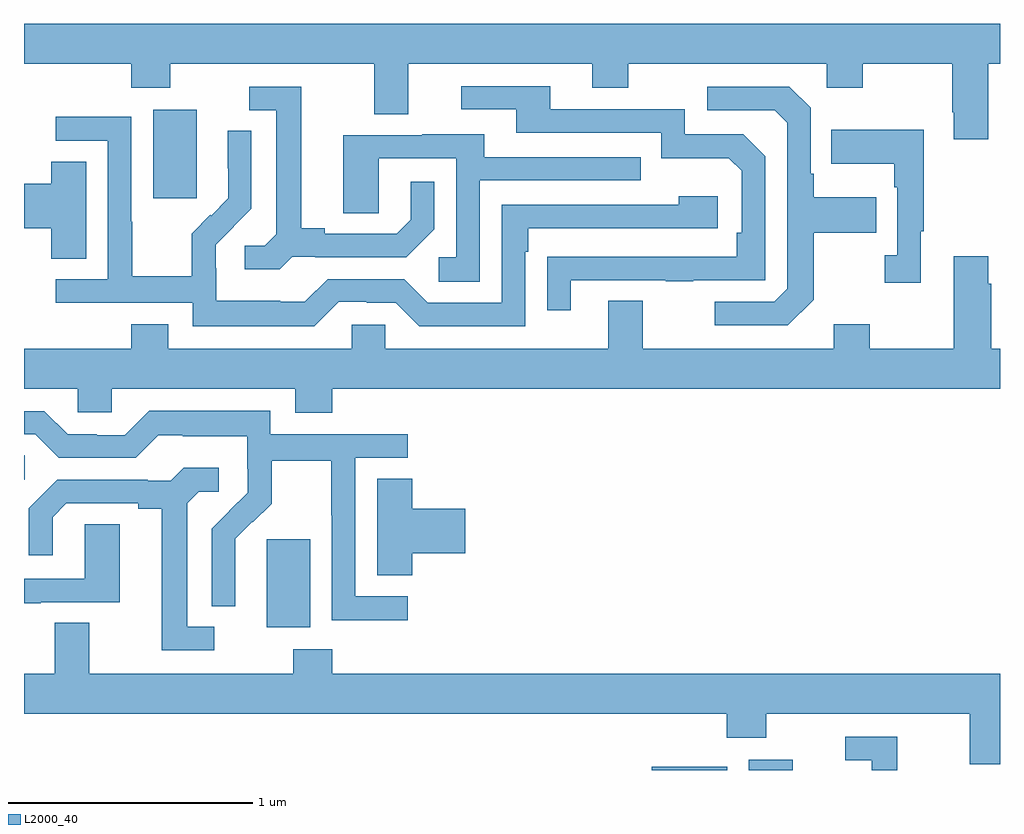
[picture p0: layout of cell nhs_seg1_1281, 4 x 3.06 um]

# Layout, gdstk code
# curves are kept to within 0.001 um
import gdstk
lib = gdstk.Library(unit=1e-6, precision=1e-09)
def R(c, l, rs):  # rectangles x0, y0, x1, y1
    for r in rs: c.add(gdstk.rectangle(r[:2], r[2:], *l))
def P(c, l, *ps):  # polygons
    for p in ps: c.add(gdstk.Polygon(p, *l))
L2000_40 = (2000, 40)

nhs_seg1_1281 = lib.new_cell('nhs_seg1_1281')
R(nhs_seg1_1281, L2000_40, [(183.573,518.199,183.882,518.214), (183.971,518.199,184.15,518.242), (181.994,518.786,182.173,519.147), (181,519.39,181.003,519.491), (181.529,520.545,181.708,520.906)])
P(nhs_seg1_1281, L2000_40, [(184.951,521.096),(185,521.096),(185,521.26),(181,521.26),(181,521.096),(181.439,521.096),(181.439,520.997),(181.599,520.997),(181.599,521.096),(182.435,521.096),(182.435,520.888),(182.575,520.888),(182.575,521.096),(183.329,521.096),(183.329,520.997),(183.477,520.997),(183.477,521.096),(184.29,521.096),(184.29,520.997),(184.437,520.997),(184.437,521.096),(184.804,521.096),(184.804,520.897),(184.811,520.897),(184.811,520.785),(184.951,520.785)],
  [(183.241,520.209),(183.631,520.209),(183.631,520.204),(183.743,520.204),(183.743,520.209),(184.038,520.209),(184.038,520.716),(183.948,520.806),(183.708,520.806),(183.708,520.908),(183.157,520.908),(183.157,521.004),(182.793,521.004),(182.793,520.908),(183.017,520.908),(183.017,520.812),(183.612,520.812),(183.612,520.709),(183.889,520.709),(183.942,520.656),(183.942,520.402),(183.922,520.402),(183.922,520.305),(183.145,520.304),(183.145,520.086),(183.241,520.086)],
  [(182.1,520.305),(182.194,520.305),(182.194,520.302),(182.566,520.302),(182.682,520.418),(182.682,520.612),(182.585,520.612),(182.585,520.455),(182.528,520.398),(182.233,520.398),(182.233,520.421),(182.137,520.421),(182.137,521.001),(181.923,521.001),(181.923,520.905),(182.033,520.905),(182.033,520.397),(181.986,520.35),(181.905,520.35),(181.905,520.253),(182.048,520.253)],
  [(184.237,520.129),(184.237,520.402),(184.493,520.402),(184.493,520.549),(184.237,520.549),(184.237,520.645),(184.224,520.645),(184.224,520.914),(184.137,521.001),(183.801,521.001),(183.801,520.905),(184.077,520.905),(184.128,520.854),(184.128,520.173),(184.074,520.119),(183.831,520.119),(183.831,520.023),(184.131,520.023)],
  [(182.289,520.119),(182.405,520.119),(182.405,520.116),(182.523,520.116),(182.619,520.02),(183.054,520.02),(183.054,520.325),(183.067,520.325),(183.067,520.422),(183.844,520.422),(183.844,520.552),(183.683,520.552),(183.683,520.518),(182.958,520.518),(182.958,520.116),(182.655,520.116),(182.559,520.212),(182.244,520.212),(182.151,520.119),(182.051,520.119),(182.051,520.123),(181.788,520.123),(181.788,520.257),(181.786,520.257),(181.786,520.354),(181.932,520.502),(181.932,520.82),(181.836,520.82),(181.836,520.666),(181.838,520.666),(181.838,520.544),(181.767,520.473),(181.764,520.476),(181.687,520.399),(181.687,520.225),(181.443,520.225),(181.443,520.448),(181.44,520.448),(181.44,520.878),(181.131,520.878),(181.131,520.779),(181.344,520.779),(181.344,520.212),(181.131,520.212),(181.131,520.116),(181.692,520.116),(181.692,520.019),(182.189,520.019)],
  [(184.675,520.409),(184.687,520.409),(184.687,520.825),(184.309,520.825),(184.309,520.685),(184.566,520.685),(184.566,520.589),(184.578,520.589),(184.578,520.31),(184.527,520.31),(184.527,520.197),(184.675,520.197)],
  [(182.868,520.617),(183.527,520.617),(183.527,520.713),(182.887,520.713),(182.887,520.807),(182.633,520.807),(182.633,520.803),(182.309,520.803),(182.309,520.483),(182.454,520.483),(182.454,520.707),(182.772,520.707),(182.772,520.302),(182.7,520.302),(182.7,520.201),(182.868,520.201)],
  [(181.255,520.694),(181.112,520.694),(181.112,520.604),(181,520.604),(181,520.421),(181.112,520.421),(181.112,520.297),(181.255,520.297)],
  [(185,519.928),(184.964,519.928),(184.964,520.193),(184.951,520.193),(184.951,520.306),(184.811,520.306),(184.811,519.928),(184.467,519.928),(184.467,520.027),(184.319,520.027),(184.319,519.928),(183.535,519.928),(183.535,520.123),(183.395,520.123),(183.395,519.928),(182.481,519.928),(182.481,520.026),(182.343,520.026),(182.343,519.928),(181.591,519.928),(181.591,520.027),(181.439,520.027),(181.439,519.928),(181,519.928),(181,519.764),(181.221,519.764),(181.221,519.666),(181.359,519.666),(181.359,519.764),(182.111,519.764),(182.111,519.665),(182.264,519.665),(182.264,519.764),(185,519.764)],
  [(182.572,518.913),(182.358,518.913),(182.358,519.48),(182.572,519.48),(182.572,519.576),(182.01,519.576),(182.01,519.673),(181.513,519.673),(181.413,519.573),(181.298,519.573),(181.298,519.576),(181.179,519.576),(181.083,519.672),(181,519.672),(181,519.576),(181.047,519.576),(181.143,519.48),(181.458,519.48),(181.551,519.573),(181.651,519.573),(181.651,519.569),(181.914,519.569),(181.914,519.435),(181.916,519.435),(181.916,519.338),(181.77,519.19),(181.77,518.872),(181.866,518.872),(181.865,519.149),(181.935,519.219),(181.938,519.216),(182.015,519.293),(182.015,519.468),(182.26,519.468),(182.26,519.244),(182.262,519.244),(182.262,518.815),(182.572,518.815)],
  [(181.78,518.787),(181.669,518.787),(181.669,519.295),(181.716,519.342),(181.798,519.342),(181.798,519.439),(181.654,519.439),(181.602,519.387),(181.508,519.387),(181.508,519.39),(181.136,519.39),(181.02,519.274),(181.02,519.081),(181.117,519.081),(181.117,519.237),(181.174,519.294),(181.469,519.294),(181.469,519.272),(181.565,519.272),(181.565,518.691),(181.78,518.691)],
  [(182.591,519.089),(182.809,519.089),(182.809,519.272),(182.591,519.272),(182.591,519.395),(182.447,519.395),(182.447,518.998),(182.591,518.998)],
  [(181.069,518.889),(181.393,518.889),(181.393,519.209),(181.248,519.209),(181.248,518.985),(181,518.985),(181,518.885),(181.069,518.885)],
  [(185,518.596),(182.264,518.596),(182.264,518.695),(182.104,518.695),(182.104,518.596),(181.267,518.596),(181.267,518.804),(181.127,518.804),(181.127,518.596),(181,518.596),(181,518.432),(183.881,518.432),(183.881,518.333),(184.041,518.333),(184.041,518.432),(184.877,518.432),(184.877,518.224),(185,518.224)],
  [(184.579,518.337),(184.365,518.337),(184.365,518.241),(184.475,518.241),(184.475,518.199),(184.579,518.199)])

lib.write_gds('nhs_seg1_1281.gds')
